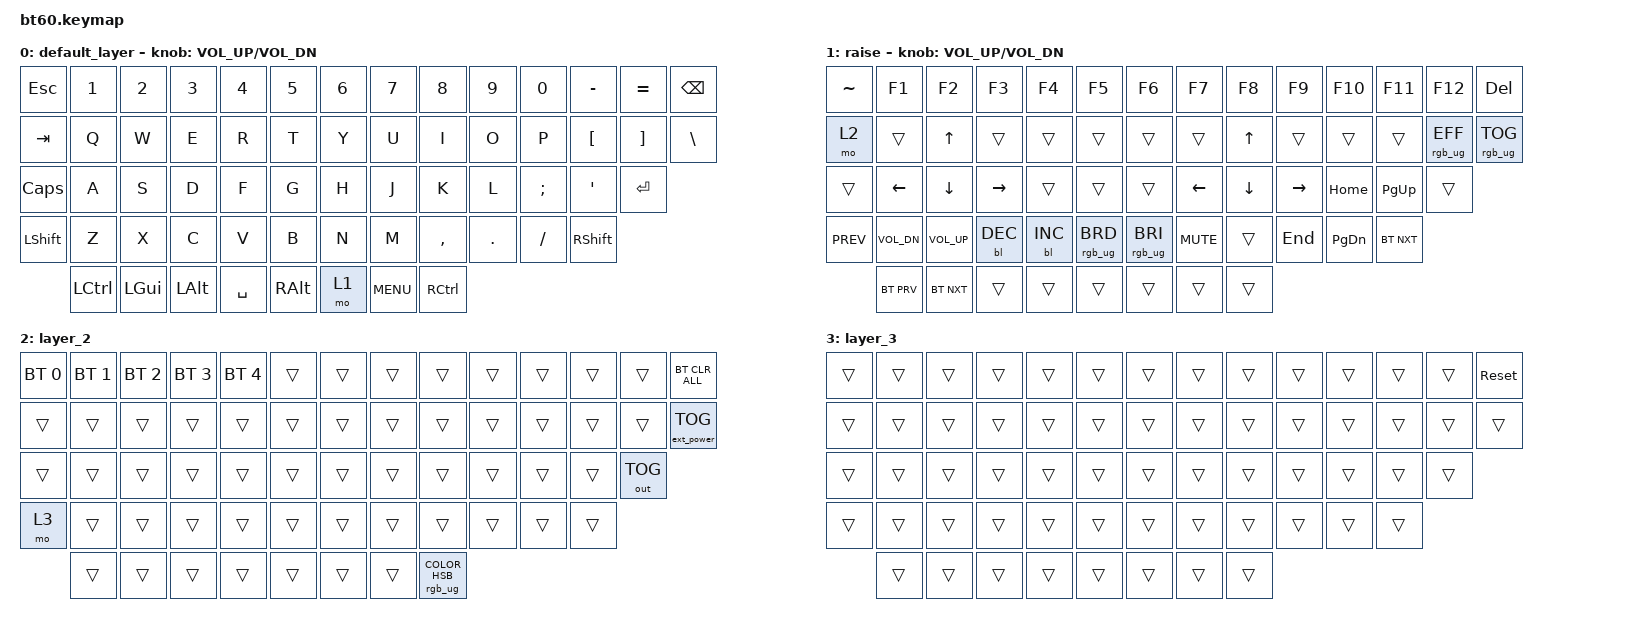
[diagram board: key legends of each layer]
#include <behaviors.dtsi>
#include <dt-bindings/zmk/backlight.h>
#include <dt-bindings/zmk/bt.h>
#include <dt-bindings/zmk/ext_power.h>
#include <dt-bindings/zmk/keys.h>
#include <dt-bindings/zmk/outputs.h>
#include <dt-bindings/zmk/rgb.h>

/ {
    keymap {
        compatible = "zmk,keymap";

        default_layer {
            // ------------------------------------------------------------------------------------------
            // |  `  |  1  |  2  |  3  |  4  |  5  |  6  |  7  |  8  |  9  |  0  |  -  |  =  |   BKSP
            // | TAB  |  Q  |  W  |  E  |  R  |  T  |  Y  |  U  |  I  |  O  |  P  |  [  |  ]  |   |
            // | CAPS  |  A  |  S  |  D  |  F  |  G  |  H  |  J  |  K  |  L  |  ;  |  '  |     ENTER
            // |  SHIFT    |  Z  |  X  |  C  |  V  |  B  |  N  |  M  |  ,  |  .  | /   |      SHIFT
            // |  CTL  |  WIN  |  ALT  |            SPACE               | ALT | 1    |  MENU    |  CTRL
            // ------------------------------------------------------------------------------------------

            bindings = <
&kp ESC    &kp N1     &kp N2    &kp N3    &kp N4     &kp N5    &kp N6  &kp N7      &kp N8     &kp N9   &kp N0    &kp MINUS  &kp EQUAL  &kp BSPC
&kp TAB    &kp Q      &kp W     &kp E     &kp R      &kp T     &kp Y   &kp U       &kp I      &kp O    &kp P     &kp LBKT   &kp RBKT   &kp BSLH
&kp CAPS   &kp A      &kp S     &kp D     &kp F      &kp G     &kp H   &kp J       &kp K      &kp L    &kp SEMI  &kp SQT    &kp RET
&kp LSHFT  &kp Z      &kp X     &kp C     &kp V      &kp B     &kp N   &kp M       &kp COMMA  &kp DOT  &kp FSLH  &kp RSHFT
           &kp LCTRL  &kp LGUI  &kp LALT  &kp SPACE  &kp RALT  &mo 1   &kp C_MENU  &kp RCTRL
            >;

            sensor-bindings = <&inc_dec_kp C_VOL_UP C_VOL_DN>;
        };

        raise {
            bindings = <
&kp TILDE   &kp F1        &kp F2        &kp F3      &kp F4      &kp F5           &kp F6           &kp F7      &kp F8    &kp F9     &kp F10    &kp F11     &kp F12          &kp DELETE
&mo 2       &trans        &kp UP        &trans      &trans      &trans           &trans           &trans      &kp UP    &trans     &trans     &trans      &rgb_ug RGB_EFF  &rgb_ug RGB_TOG
&trans      &kp LEFT      &kp DOWN      &kp RIGHT   &trans      &trans           &trans           &kp LEFT    &kp DOWN  &kp RIGHT  &kp HOME   &kp PG_UP   &trans
&kp C_PREV  &kp C_VOL_DN  &kp C_VOL_UP  &bl BL_DEC  &bl BL_INC  &rgb_ug RGB_BRD  &rgb_ug RGB_BRI  &kp K_MUTE  &trans    &kp END    &kp PG_DN  &bt BT_NXT
            &bt BT_PRV    &bt BT_NXT    &trans      &trans      &trans           &trans           &trans      &trans
            >;

            sensor-bindings = <&inc_dec_kp C_VOL_UP C_VOL_DN>;
        };

        layer_2 {
            bindings = <
&bt BT_SEL 0  &bt BT_SEL 1  &bt BT_SEL 2  &bt BT_SEL 3  &bt BT_SEL 4  &trans  &trans  &trans  &trans                            &trans  &trans  &trans  &trans        &bt BT_CLR_ALL
&trans        &trans        &trans        &trans        &trans        &trans  &trans  &trans  &trans                            &trans  &trans  &trans  &trans        &ext_power EP_TOG
&trans        &trans        &trans        &trans        &trans        &trans  &trans  &trans  &trans                            &trans  &trans  &trans  &out OUT_TOG
&mo 3         &trans        &trans        &trans        &trans        &trans  &trans  &trans  &trans                            &trans  &trans  &trans
              &trans        &trans        &trans        &trans        &trans  &trans  &trans  &rgb_ug RGB_COLOR_HSB(226,75,48)
            >;
        };

        layer_3 {
            bindings = <
&trans  &trans  &trans  &trans  &trans  &trans  &trans  &trans  &trans  &trans  &trans  &trans  &trans  &sys_reset
&trans  &trans  &trans  &trans  &trans  &trans  &trans  &trans  &trans  &trans  &trans  &trans  &trans  &trans
&trans  &trans  &trans  &trans  &trans  &trans  &trans  &trans  &trans  &trans  &trans  &trans  &trans
&trans  &trans  &trans  &trans  &trans  &trans  &trans  &trans  &trans  &trans  &trans  &trans
        &trans  &trans  &trans  &trans  &trans  &trans  &trans  &trans
            >;
        };
    };
};
